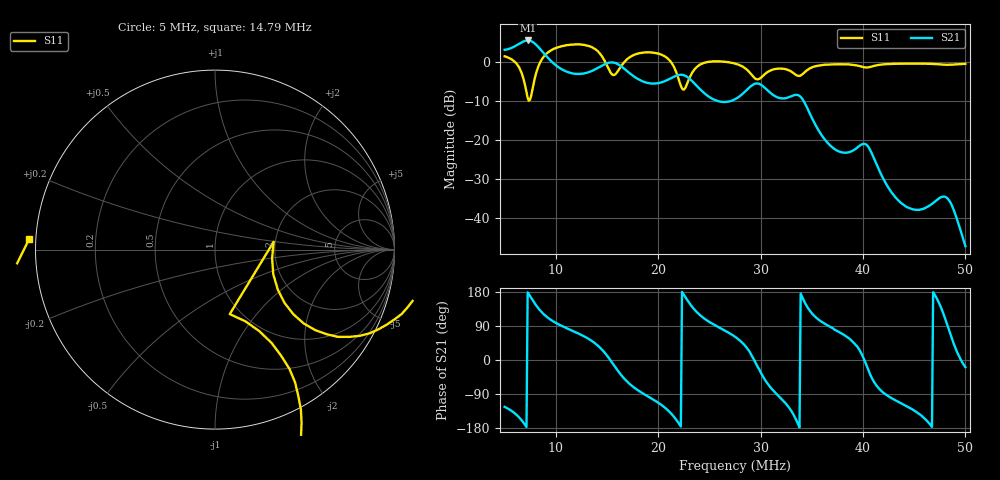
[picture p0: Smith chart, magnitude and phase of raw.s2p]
! S11/S21 only; reverse parameters are placeholders. Device calibration unverified.
! NanoVNA F V2 profile | COM3 | 2026-09-08T10:48:40.4207574-04:00 | device calibration unverified
# HZ S RI R 50
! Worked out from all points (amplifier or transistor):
!   401 points, 5 MHz to 50 MHz, reference 50 ohm
!   highest |S21| = 5.7 dB at 7.25 MHz (marker M1)
!   |S21| within 3 dB of that: start of sweep to 8.735 MHz
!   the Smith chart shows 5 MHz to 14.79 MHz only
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5000000  1.191 -0.1344  -0.8035 -1.211  0 0  0 0
6350000  0.7506 -0.4861  -1.482 -0.8742  0 0  0 0
7250000  0.3244 -0.1361  -1.918 0.0477  0 0  0 0
8487500  0.4786 -0.8912  -0.9555 1.132  0 0  0 0
1.02875e7  0.1454 -1.574  -0.0564 0.8626  0 0  0 0
1.25375e7  -0.5864 -1.591  0.2956 0.6512  0 0  0 0
1.445e7  -1.177 -0.3503  0.7876 0.4363  0 0  0 0
1.56875e7  0.01 0.6892  0.9635 -0.2432  0 0  0 0
1.72625e7  1.165 -0.1703  0.3107 -0.648  0 0  0 0
2.0075e7  0.5699 -1.16  -0.2217 -0.4969  0 0  0 0
2.10875e7  -0.0714 -1.07  -0.4429 -0.4222  0 0  0 0
2.1875e7  -0.5362 -0.4188  -0.6492 -0.2118  0 0  0 0
2.3e7  0.1885 0.5787  -0.5533 0.2964  0 0  0 0
2.4575e7  0.9825 0.1519  -0.1214 0.3756  0 0  0 0
2.75e7  0.8755 -0.4096  0.1611 0.295  0 0  0 0
2.94125e7  0.5376 -0.3273  0.5297 -0.0196  0 0  0 0
3.07625e7  0.7223 -0.2446  0.1784 -0.3886  0 0  0 0
3.3575e7  0.5636 -0.3765  -0.367 -0.1059  0 0  0 0
3.50375e7  0.7676 -0.4014  -0.1014 0.1606  0 0  0 0
4.2575e7  0.5433 -0.7846  -0.00298 -0.0232  0 0  0 0
4.82e7  0.2987 -0.8828  -0.00151 0.018  0 0  0 0
5e7  0.2546 -0.9258  0.00409 -0.0014  0 0  0 0
